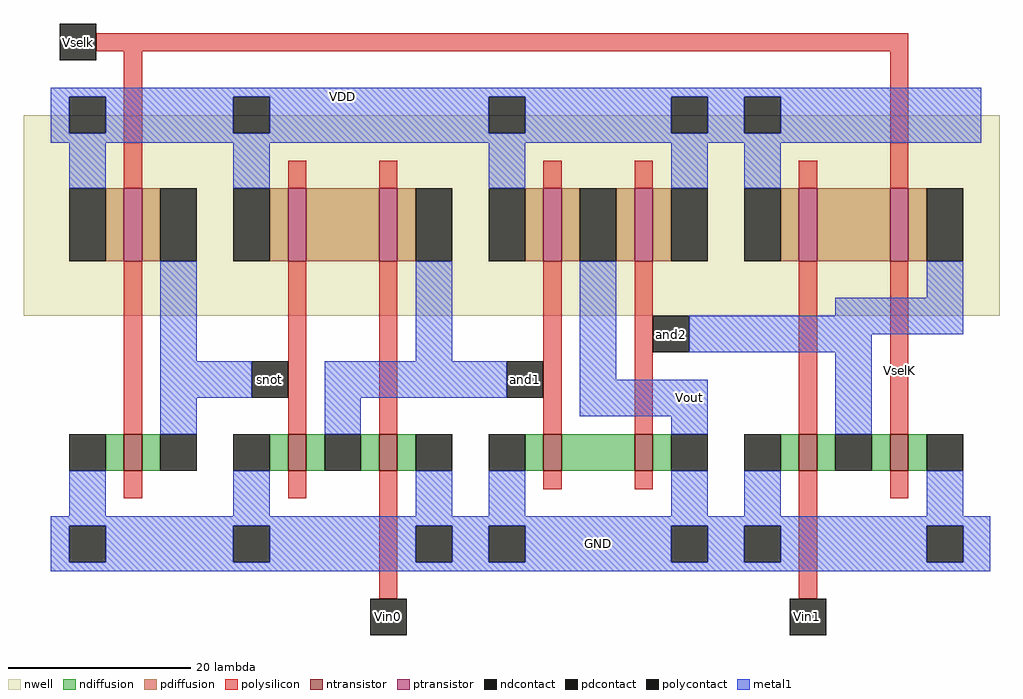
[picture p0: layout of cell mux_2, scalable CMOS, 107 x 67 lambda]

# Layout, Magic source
magic
tech scmos
<< nwell >>
rect -3 28 104 50
<< polysilicon >>
rect 5 57 94 59
rect 8 42 10 57
rect 26 42 28 45
rect 36 42 38 45
rect 54 42 56 45
rect 64 42 66 45
rect 82 42 84 45
rect 92 42 94 57
rect 8 15 10 34
rect 26 15 28 34
rect 36 15 38 34
rect 54 15 56 34
rect 64 15 66 34
rect 82 15 84 34
rect 92 15 94 34
rect 8 8 10 11
rect 26 8 28 11
rect 36 -3 38 11
rect 54 9 56 11
rect 64 9 66 11
rect 82 -3 84 11
rect 92 8 94 11
<< ndiffusion >>
rect 6 11 8 15
rect 10 11 12 15
rect 24 11 26 15
rect 28 11 30 15
rect 34 11 36 15
rect 38 11 40 15
rect 52 11 54 15
rect 56 11 64 15
rect 66 11 68 15
rect 80 11 82 15
rect 84 11 86 15
rect 90 11 92 15
rect 94 11 96 15
<< pdiffusion >>
rect 6 34 8 42
rect 10 34 12 42
rect 24 34 26 42
rect 28 34 36 42
rect 38 34 40 42
rect 52 34 54 42
rect 56 34 58 42
rect 62 34 64 42
rect 66 34 68 42
rect 80 34 82 42
rect 84 34 92 42
rect 94 34 96 42
<< metal1 >>
rect 0 52 102 53
rect 0 48 2 52
rect 6 48 20 52
rect 24 48 48 52
rect 52 48 68 52
rect 72 48 76 52
rect 80 48 102 52
rect 0 47 102 48
rect 2 42 6 47
rect 20 42 24 47
rect 48 42 52 47
rect 68 42 72 47
rect 76 42 80 47
rect 12 23 16 34
rect 40 23 44 34
rect 12 19 22 23
rect 30 19 50 23
rect 58 21 62 34
rect 96 30 100 34
rect 86 28 100 30
rect 70 26 100 28
rect 70 24 90 26
rect 12 15 16 19
rect 30 15 34 19
rect 58 17 72 21
rect 68 15 72 17
rect 86 15 90 24
rect 2 6 6 11
rect 20 6 24 11
rect 40 6 44 11
rect 48 6 52 11
rect 68 6 72 11
rect 76 6 80 11
rect 96 6 100 11
rect 0 5 103 6
rect 0 1 2 5
rect 6 1 20 5
rect 24 1 40 5
rect 44 1 48 5
rect 52 1 68 5
rect 72 1 76 5
rect 80 1 96 5
rect 100 1 103 5
rect 0 0 103 1
<< ntransistor >>
rect 8 11 10 15
rect 26 11 28 15
rect 36 11 38 15
rect 54 11 56 15
rect 64 11 66 15
rect 82 11 84 15
rect 92 11 94 15
<< ptransistor >>
rect 8 34 10 42
rect 26 34 28 42
rect 36 34 38 42
rect 54 34 56 42
rect 64 34 66 42
rect 82 34 84 42
rect 92 34 94 42
<< polycontact >>
rect 1 56 5 60
rect 22 19 26 23
rect 50 19 54 23
rect 66 24 70 28
rect 35 -7 39 -3
rect 81 -7 85 -3
<< ndcontact >>
rect 2 11 6 15
rect 12 11 16 15
rect 20 11 24 15
rect 30 11 34 15
rect 40 11 44 15
rect 48 11 52 15
rect 68 11 72 15
rect 76 11 80 15
rect 86 11 90 15
rect 96 11 100 15
rect 2 1 6 5
rect 20 1 24 5
rect 40 1 44 5
rect 48 1 52 5
rect 68 1 72 5
rect 76 1 80 5
rect 96 1 100 5
<< pdcontact >>
rect 2 48 6 52
rect 20 48 24 52
rect 48 48 52 52
rect 68 48 72 52
rect 76 48 80 52
rect 2 34 6 42
rect 12 34 16 42
rect 20 34 24 42
rect 40 34 44 42
rect 48 34 52 42
rect 58 34 62 42
rect 68 34 72 42
rect 76 34 80 42
rect 96 34 100 42
<< labels >>
rlabel metal1 32 52 32 52 1 VDD
rlabel metal1 60 3 60 3 1 GND
rlabel polycontact 37 -5 37 -5 1 Vin0
rlabel polycontact 83 -5 83 -5 1 Vin1
rlabel polycontact 3 58 3 58 3 Vselk
rlabel polysilicon 93 22 93 22 1 VselK
rlabel polycontact 24 21 24 21 1 snot
rlabel polycontact 52 21 52 21 1 and1
rlabel polycontact 68 26 68 26 1 and2
rlabel metal1 70 19 70 19 1 Vout
<< end >>
